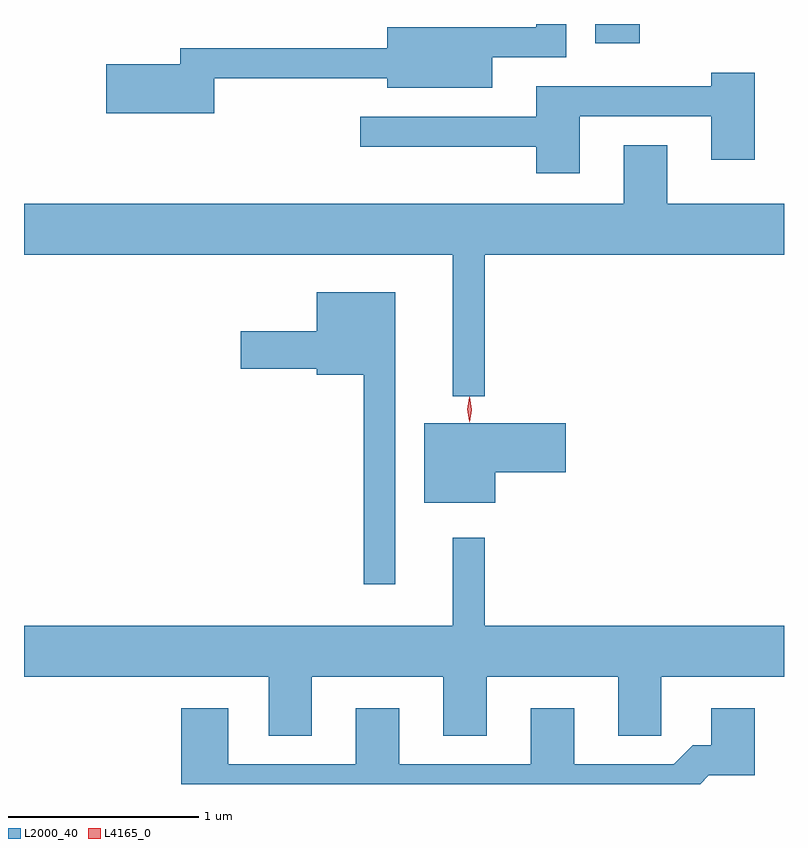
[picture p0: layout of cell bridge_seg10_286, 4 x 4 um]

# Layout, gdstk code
import gdstk
lib = gdstk.Library(unit=1e-6, precision=1e-09)
def R(c, l, rs):  # rectangles x0, y0, x1, y1
    for r in rs: c.add(gdstk.rectangle(r[:2], r[2:], *l))
def P(c, l, *ps):  # polygons
    for p in ps: c.add(gdstk.Polygon(p, *l))
L2000_40 = (2000, 40)
L4165_0 = (4165, 0)

bridge_seg10_286 = lib.new_cell('bridge_seg10_286')
R(bridge_seg10_286, L2000_40, [(1450.341,2172.751,1450.574,2172.851)])
P(bridge_seg10_286, L2000_40, [(1448.334,2172.566),(1449.246,2172.566),(1449.246,2172.516),(1449.799,2172.516),(1449.799,2172.676),(1450.189,2172.676),(1450.189,2172.851),(1450.031,2172.851),(1450.031,2172.834),(1449.246,2172.834),(1449.246,2172.724),(1448.156,2172.724),(1448.156,2172.639),(1447.766,2172.639),(1447.766,2172.381),(1448.334,2172.381)],
  [(1450.259,2172.366),(1450.951,2172.366),(1450.951,2172.136),(1451.179,2172.136),(1451.179,2172.594),(1450.951,2172.594),(1450.951,2172.524),(1450.031,2172.524),(1450.031,2172.364),(1449.103,2172.364),(1449.103,2172.206),(1450.031,2172.206),(1450.031,2172.066),(1450.259,2172.066)],
  [(1449.759,2171.636),(1451.334,2171.636),(1451.334,2171.904),(1450.719,2171.904),(1450.719,2172.214),(1450.491,2172.214),(1450.491,2171.904),(1447.334,2171.904),(1447.334,2171.636),(1449.591,2171.636),(1449.591,2170.893),(1449.759,2170.893)],
  [(1449.289,2171.439),(1448.876,2171.439),(1448.876,2171.234),(1448.476,2171.234),(1448.476,2171.036),(1448.876,2171.036),(1448.876,2171.006),(1449.121,2171.006),(1449.121,2169.903),(1449.289,2169.903)],
  [(1449.814,2170.491),(1450.184,2170.491),(1450.184,2170.749),(1449.441,2170.749),(1449.441,2170.331),(1449.814,2170.331)],
  [(1448.849,2169.416),(1449.541,2169.416),(1449.541,2169.106),(1449.769,2169.106),(1449.769,2169.416),(1450.461,2169.416),(1450.461,2169.106),(1450.689,2169.106),(1450.689,2169.416),(1451.334,2169.416),(1451.334,2169.684),(1449.759,2169.684),(1449.759,2170.148),(1449.591,2170.148),(1449.591,2169.684),(1447.334,2169.684),(1447.334,2169.416),(1448.621,2169.416),(1448.621,2169.106),(1448.849,2169.106)],
  [(1450.937,2168.896),(1451.179,2168.896),(1451.179,2169.249),(1450.951,2169.249),(1450.951,2169.054),(1450.854,2169.054),(1450.754,2168.954),(1450.229,2168.954),(1450.229,2169.249),(1450.001,2169.249),(1450.001,2168.954),(1449.309,2168.954),(1449.309,2169.249),(1449.081,2169.249),(1449.081,2168.954),(1448.409,2168.954),(1448.409,2169.249),(1448.161,2169.249),(1448.161,2168.851),(1450.892,2168.851)])
P(bridge_seg10_286, L4165_0, [(1449.68,2170.754),(1449.67,2170.822),(1449.679,2170.89),(1449.68,2170.89),(1449.68,2170.89),(1449.69,2170.822),(1449.681,2170.754),(1449.681,2170.754)],
  [(1449.677,2170.76),(1449.677,2170.76),(1449.667,2170.823),(1449.677,2170.886),(1449.677,2170.887),(1449.678,2170.886),(1449.687,2170.823),(1449.678,2170.76)])

lib.write_gds('bridge_seg10_286.gds')
